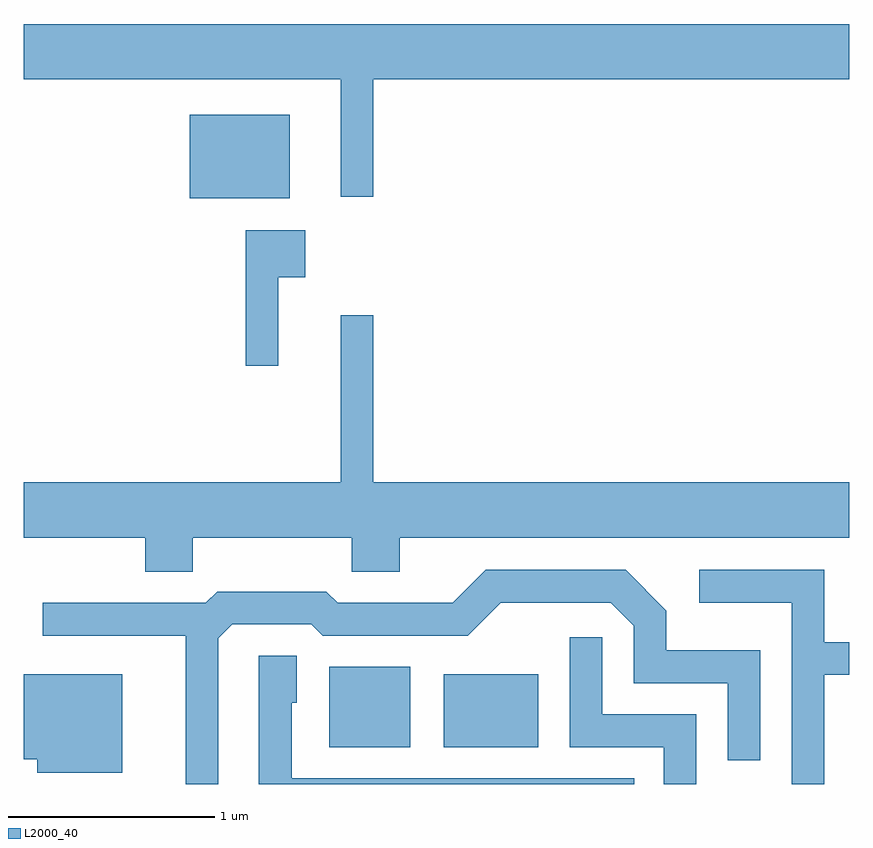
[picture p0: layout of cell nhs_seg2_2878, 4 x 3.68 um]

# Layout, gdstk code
import gdstk
lib = gdstk.Library(unit=1e-6, precision=1e-09)
def R(c, l, rs):  # rectangles x0, y0, x1, y1
    for r in rs: c.add(gdstk.rectangle(r[:2], r[2:], *l))
def P(c, l, *ps):  # polygons
    for p in ps: c.add(gdstk.Polygon(p, *l))
L2000_40 = (2000, 40)

nhs_seg2_2878 = lib.new_cell('nhs_seg2_2878')
R(nhs_seg2_2878, L2000_40, [(271.091,1033.981,271.484,1034.369), (271.646,1033.981,272.104,1034.334), (270.416,1036.641,270.899,1037.044)])
P(nhs_seg2_2878, L2000_40, [(271.304,1037.216),(273.611,1037.216),(273.611,1037.484),(269.611,1037.484),(269.611,1037.216),(271.146,1037.216),(271.146,1036.648),(271.304,1036.648)],
  [(270.844,1036.256),(270.974,1036.256),(270.974,1036.484),(270.686,1036.484),(270.686,1035.828),(270.844,1035.828)],
  [(270.429,1034.996),(271.201,1034.996),(271.201,1034.831),(271.434,1034.831),(271.434,1034.996),(273.611,1034.996),(273.611,1035.264),(271.304,1035.264),(271.304,1036.073),(271.146,1036.073),(271.146,1035.264),(269.611,1035.264),(269.611,1034.996),(270.201,1034.996),(270.201,1034.831),(270.429,1034.831)],
  [(270.554,1034.508),(270.622,1034.576),(271.004,1034.576),(271.059,1034.521),(271.762,1034.521),(271.922,1034.681),(272.454,1034.681),(272.566,1034.569),(272.566,1034.291),(273.021,1034.291),(273.021,1033.918),(273.179,1033.918),(273.179,1034.449),(272.724,1034.449),(272.724,1034.642),(272.527,1034.839),(271.849,1034.839),(271.689,1034.679),(271.132,1034.679),(271.077,1034.734),(270.549,1034.734),(270.494,1034.679),(269.703,1034.679),(269.703,1034.521),(270.396,1034.521),(270.396,1033.802),(270.554,1033.802)],
  [(273.489,1034.331),(273.611,1034.331),(273.611,1034.489),(273.489,1034.489),(273.489,1034.839),(272.883,1034.839),(272.883,1034.681),(273.331,1034.681),(273.331,1033.802),(273.489,1033.802)],
  [(272.869,1034.139),(272.414,1034.139),(272.414,1034.513),(272.256,1034.513),(272.256,1033.981),(272.711,1033.981),(272.711,1033.802),(272.869,1033.802)],
  [(272.568,1033.829),(270.909,1033.829),(270.909,1034.196),(270.934,1034.196),(270.934,1034.424),(270.751,1034.424),(270.751,1033.802),(272.568,1033.802)],
  [(270.089,1034.334),(269.611,1034.334),(269.611,1033.921),(269.676,1033.921),(269.676,1033.856),(270.089,1033.856)])

lib.write_gds('nhs_seg2_2878.gds')
